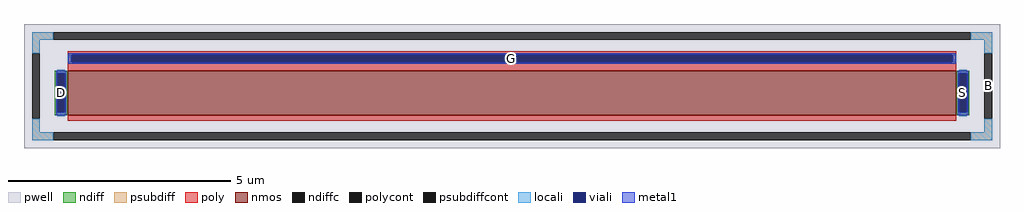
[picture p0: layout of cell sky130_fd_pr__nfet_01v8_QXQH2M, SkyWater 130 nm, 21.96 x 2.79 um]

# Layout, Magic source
magic
tech sky130A
magscale 1 2
<< pwell >>
rect -2196 -279 2196 279
<< nmos >>
rect -2000 -131 2000 69
<< ndiff >>
rect -2058 57 -2000 69
rect -2058 -119 -2046 57
rect -2012 -119 -2000 57
rect -2058 -131 -2000 -119
rect 2000 57 2058 69
rect 2000 -119 2012 57
rect 2046 -119 2058 57
rect 2000 -131 2058 -119
<< ndiffc >>
rect -2046 -119 -2012 57
rect 2012 -119 2046 57
<< psubdiff >>
rect -2160 209 -2064 243
rect 2064 209 2160 243
rect -2160 147 -2126 209
rect 2126 147 2160 209
rect -2160 -209 -2126 -147
rect 2126 -209 2160 -147
rect -2160 -243 -2064 -209
rect 2064 -243 2160 -209
<< psubdiffcont >>
rect -2064 209 2064 243
rect -2160 -147 -2126 147
rect 2126 -147 2160 147
rect -2064 -243 2064 -209
<< poly >>
rect -2000 141 2000 157
rect -2000 107 -1984 141
rect 1984 107 2000 141
rect -2000 69 2000 107
rect -2000 -157 2000 -131
<< polycont >>
rect -1984 107 1984 141
<< locali >>
rect -2160 209 -2064 243
rect 2064 209 2160 243
rect -2160 147 -2126 209
rect 2126 147 2160 209
rect -2000 107 -1984 141
rect 1984 107 2000 141
rect -2046 57 -2012 73
rect -2046 -135 -2012 -119
rect 2012 57 2046 73
rect 2012 -135 2046 -119
rect -2160 -209 -2126 -147
rect 2126 -209 2160 -147
rect -2160 -243 -2064 -209
rect 2064 -243 2160 -209
<< viali >>
rect -1984 107 1984 141
rect -2046 -119 -2012 57
rect 2012 -119 2046 57
<< metal1 >>
rect -1996 141 1996 147
rect -1996 107 -1984 141
rect 1984 107 1996 141
rect -1996 101 1996 107
rect -2052 57 -2006 69
rect -2052 -119 -2046 57
rect -2012 -119 -2006 57
rect -2052 -131 -2006 -119
rect 2006 57 2052 69
rect 2006 -119 2012 57
rect 2046 -119 2052 57
rect 2006 -131 2052 -119
<< labels >>
flabel metal1 s -2029 -31 -2029 -31 0 FreeSans 480 0 0 0 D
port 0 nsew
flabel metal1 s -3 124 -3 124 0 FreeSans 480 0 0 0 G
port 1 nsew
flabel metal1 s 2029 -31 2029 -31 0 FreeSans 480 0 0 0 S
port 2 nsew
flabel locali s 2143 1 2143 1 0 FreeSans 480 0 0 0 B
port 3 nsew
<< properties >>
string FIXED_BBOX -2143 -226 2143 226
string gencell sky130_fd_pr__nfet_01v8
string library sky130
string parameters w 1.0 l 20.0 m 1 nf 1 diffcov 100 polycov 100 guard 1 glc 1 grc 1 gtc 1 gbc 1 tbcov 100 rlcov 100 topc 1 botc 0 poverlap 0 doverlap 1 lmin 0.15 wmin 0.42 compatible {sky130_fd_pr__nfet_01v8 sky130_fd_pr__nfet_01v8_lvt  sky130_fd_bs_flash__special_sonosfet_star  sky130_fd_pr__nfet_g5v0d10v5 sky130_fd_pr__nfet_05v0_nvt  sky130_fd_pr__nfet_03v3_nvt} full_metal 1 viasrc 100 viadrn 100 viagate 100 viagb 0 viagr 0 viagl 0 viagt 0
<< end >>
